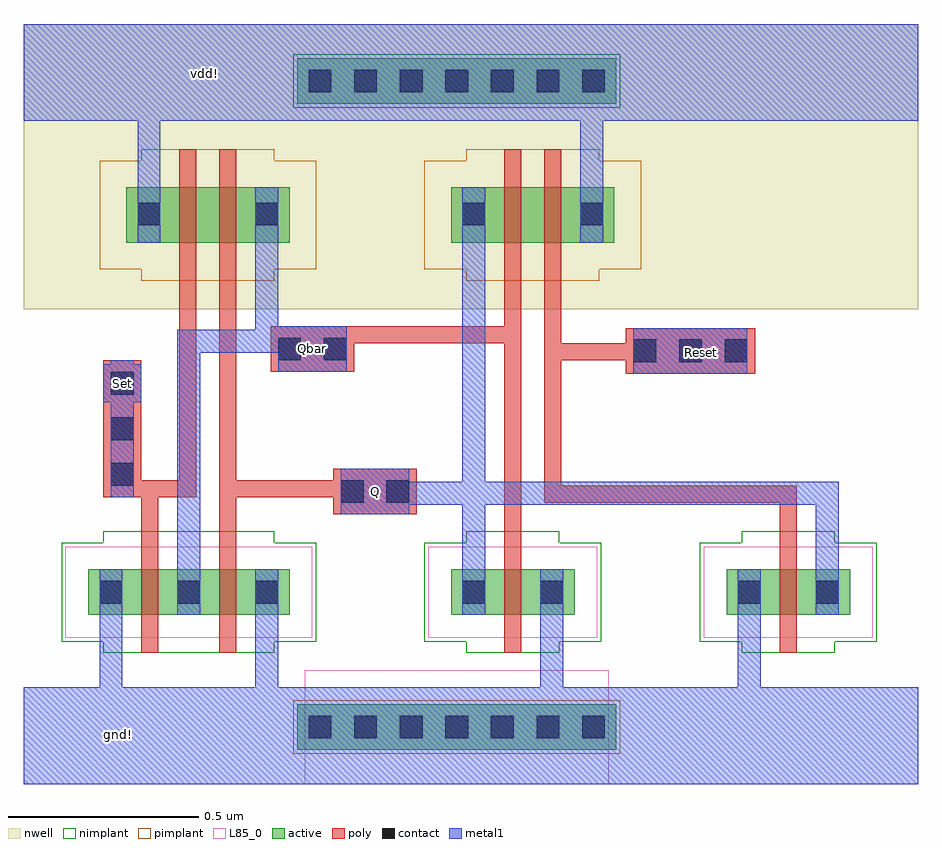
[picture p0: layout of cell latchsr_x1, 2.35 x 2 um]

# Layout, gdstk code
from math import pi, radians
import gdstk
lib = gdstk.Library(unit=1e-6, precision=5e-10)
def R(c, l, rs):  # rectangles x0, y0, x1, y1
    for r in rs: c.add(gdstk.rectangle(r[:2], r[2:], *l))
def A(c, l, x, y, w, h, nx, ny, dx, dy):  # array of equal rectangles
    R(c, l, [(x+i*dx, y+j*dy, x+i*dx+w, y+j*dy+h) for i in range(nx) for j in range(ny)])
active = (1, 0)
nwell = (2, 0)
poly = (3, 0)
nimplant = (4, 0)
pimplant = (5, 0)
contact = (6, 0)
metal1 = (7, 0)
L85_0 = (85, 0)

nmos1v_cdns_764113596370 = lib.new_cell('nmos1v_CDNS_764113596370')
R(nmos1v_cdns_764113596370, active, [(-0.14,0,0,0.12), (0,0,0.045,0.12), (0.045,0,0.095,0.12)])
R(nmos1v_cdns_764113596370, poly, [(0,-0.1,0.045,-0.05), (0,-0.05,0.045,0), (0,0,0.045,0.12), (0,0.12,0.045,0.17), (0,0.17,0.045,0.22)])
R(nmos1v_cdns_764113596370, nimplant, [(-0.1,-0.1,0.145,0.22), (-0.21,-0.07,0.165,0.19)])
R(nmos1v_cdns_764113596370, contact, [(-0.11,0.03,-0.05,0.09)])
R(nmos1v_cdns_764113596370, metal1, [(-0.11,0,-0.05,0.12)])
R(nmos1v_cdns_764113596370, L85_0, [(-0.2,-0.06,0.155,0.18)])

nmos1v_cdns_764113596371 = lib.new_cell('nmos1v_CDNS_764113596371')
R(nmos1v_cdns_764113596371, active, [(-0.14,0,0,0.12), (0,0,0.045,0.12), (0.045,0,0.185,0.12)])
R(nmos1v_cdns_764113596371, poly, [(0,-0.1,0.045,-0.05), (0,-0.05,0.045,0), (0,0,0.045,0.12), (0,0.12,0.045,0.17), (0,0.17,0.045,0.22)])
R(nmos1v_cdns_764113596371, nimplant, [(-0.1,-0.1,0.145,0.22), (-0.21,-0.07,0.255,0.19)])
R(nmos1v_cdns_764113596371, contact, [(-0.11,0.03,-0.05,0.09), (0.095,0.03,0.155,0.09)])
R(nmos1v_cdns_764113596371, metal1, [(-0.11,0,-0.05,0.12), (0.095,0,0.155,0.12)])
R(nmos1v_cdns_764113596371, L85_0, [(-0.2,-0.06,0.245,0.18)])

pmos1v_cdns_764113596372 = lib.new_cell('pmos1v_CDNS_764113596372')
R(pmos1v_cdns_764113596372, active, [(-0.03,0,0,0.145), (0,0,0.045,0.145), (0.045,0,0.185,0.145)])
R(pmos1v_cdns_764113596372, nwell, [(-0.09,-0.06,0.245,0.205)])
R(pmos1v_cdns_764113596372, poly, [(0,-0.1,0.045,-0.05), (0,-0.05,0.045,0), (0,0,0.045,0.145), (0,0.145,0.045,0.195), (0,0.195,0.045,0.245)])
R(pmos1v_cdns_764113596372, pimplant, [(-0.1,-0.1,0.145,0.245), (-0.1,-0.07,0.255,0.215)])
R(pmos1v_cdns_764113596372, contact, [(0.095,0.045,0.155,0.105)])
R(pmos1v_cdns_764113596372, metal1, [(0.095,0,0.155,0.145)])

pmos1v_cdns_764113596373 = lib.new_cell('pmos1v_CDNS_764113596373')
R(pmos1v_cdns_764113596373, active, [(-0.14,0,0,0.145), (0,0,0.045,0.145), (0.045,0,0.075,0.145)])
R(pmos1v_cdns_764113596373, nwell, [(-0.2,-0.06,0.135,0.205)])
R(pmos1v_cdns_764113596373, poly, [(0,-0.1,0.045,-0.05), (0,-0.05,0.045,0), (0,0,0.045,0.145), (0,0.145,0.045,0.195), (0,0.195,0.045,0.245)])
R(pmos1v_cdns_764113596373, pimplant, [(-0.1,-0.1,0.145,0.245), (-0.21,-0.07,0.145,0.215)])
R(pmos1v_cdns_764113596373, contact, [(-0.11,0.045,-0.05,0.105)])
R(pmos1v_cdns_764113596373, metal1, [(-0.11,0,-0.05,0.145)])

nmos1v_cdns_764113596374 = lib.new_cell('nmos1v_CDNS_764113596374')
R(nmos1v_cdns_764113596374, active, [(-0.14,0,0,0.12), (0,0,0.045,0.12), (0.045,0,0.155,0.12)])
R(nmos1v_cdns_764113596374, poly, [(0,-0.1,0.045,-0.05), (0,-0.05,0.045,0), (0,0,0.045,0.12), (0,0.12,0.045,0.17), (0,0.17,0.045,0.22)])
R(nmos1v_cdns_764113596374, nimplant, [(-0.1,-0.1,0.145,0.22), (-0.21,-0.07,0.225,0.19)])
R(nmos1v_cdns_764113596374, contact, [(-0.11,0.03,-0.05,0.09), (0.095,0.03,0.155,0.09)])
R(nmos1v_cdns_764113596374, metal1, [(-0.11,0,-0.05,0.12), (0.095,0,0.155,0.12)])
R(nmos1v_cdns_764113596374, L85_0, [(-0.2,-0.06,0.215,0.18)])

m1_po_cdns_764113596370 = lib.new_cell('M1_PO_CDNS_764113596370')
R(m1_po_cdns_764113596370, poly, [(-0.05,-0.18,0.05,0.18)])
A(m1_po_cdns_764113596370, contact, -0.03, -0.15, 0.06, 0.06, 1, 3, 0, 0.12)
R(m1_po_cdns_764113596370, metal1, [(-0.03,-0.18,0.03,0.18)])

m1_po_cdns_764113596371 = lib.new_cell('M1_PO_CDNS_764113596371')
R(m1_po_cdns_764113596371, poly, [(-0.11,-0.06,0.11,0.06)])
R(m1_po_cdns_764113596371, contact, [(-0.09,-0.03,-0.03,0.03), (0.03,-0.03,0.09,0.03)])
R(m1_po_cdns_764113596371, metal1, [(-0.09,-0.06,0.09,0.06)])

m1_po_cdns_764113596372 = lib.new_cell('M1_PO_CDNS_764113596372')
R(m1_po_cdns_764113596372, poly, [(-0.17,-0.06,0.17,0.06)])
A(m1_po_cdns_764113596372, contact, -0.15, -0.03, 0.06, 0.06, 3, 1, 0.12, 0)
R(m1_po_cdns_764113596372, metal1, [(-0.15,-0.06,0.15,0.06)])

m1_psub_cdns_76411359637 = lib.new_cell('M1_PSUB_CDNS_764113596373')
R(m1_psub_cdns_76411359637, active, [(-0.42,-0.06,0.42,0.06)])
R(m1_psub_cdns_76411359637, pimplant, [(-0.43,-0.07,0.43,0.07)])
A(m1_psub_cdns_76411359637, contact, -0.39, -0.03, 0.06, 0.06, 7, 1, 0.12, 0)
R(m1_psub_cdns_76411359637, metal1, [(-0.39,-0.06,0.39,0.06)])
R(m1_psub_cdns_76411359637, L85_0, [(-0.4,-0.15,0.4,0.15)])

m1_nwell_cdns_7641135963 = lib.new_cell('M1_NWELL_CDNS_764113596374')
R(m1_nwell_cdns_7641135963, active, [(-0.42,-0.06,0.42,0.06)])
R(m1_nwell_cdns_7641135963, nwell, [(-0.45,-0.15,0.45,0.15)])
R(m1_nwell_cdns_7641135963, nimplant, [(-0.43,-0.07,0.43,0.07)])
A(m1_nwell_cdns_7641135963, contact, -0.39, -0.03, 0.06, 0.06, 7, 1, 0.12, 0)
R(m1_nwell_cdns_7641135963, metal1, [(-0.39,-0.06,0.39,0.06)])

latchsr_x1 = lib.new_cell('latchsr_x1')
R(latchsr_x1, nwell, [(0,1.25,2.355,2)])
R(latchsr_x1, metal1, [(0,0,2.355,0.255), (0.2,0.08,0.3,0.18), (0.875,0.72,0.975,0.82), (0.21,1.005,0.31,1.105), (1.735,1.085,1.835,1.185), (0.71,1.095,0.81,1.195), (0,1.745,2.355,2), (0.425,1.82,0.525,1.92)])
latchsr_x1.add(gdstk.FlexPath([(1.3925,1.1375),(1.725,1.1375)], 0.045, ends=(0.0225, 0), simple_path=True, layer=3, datatype=0))  # poly
latchsr_x1.add(gdstk.FlexPath([(1.3925,1.1375),(1.3925,0.7625)], 0.045, ends="extended", simple_path=True, layer=3, datatype=0))  # poly
latchsr_x1.add(gdstk.FlexPath([(2.0125,0.7625),(2.0125,0.665)], 0.045, ends=(0.0225, 0), simple_path=True, layer=3, datatype=0))  # poly
latchsr_x1.add(gdstk.FlexPath([(1.3925,0.7625),(2.0125,0.7625)], 0.045, ends="extended", simple_path=True, layer=3, datatype=0))  # poly
latchsr_x1.add(gdstk.FlexPath([(1.3925,1.325),(1.3925,1.1375)], 0.045, ends=(0, 0.0225), simple_path=True, layer=3, datatype=0))  # poly
latchsr_x1.add(gdstk.FlexPath([(1.2875,1.1825),(0.78,1.1825)], 0.045, ends=(0.0225, 0.11), simple_path=True, layer=3, datatype=0))  # poly
latchsr_x1.add(gdstk.FlexPath([(1.2875,1.325),(1.2875,1.1825)], 0.045, ends=(0, 0.0225), simple_path=True, layer=3, datatype=0))  # poly
latchsr_x1.add(gdstk.FlexPath([(1.2875,1.1825),(1.2875,0.665)], 0.045, ends=(0.0225, 0), simple_path=True, layer=3, datatype=0))  # poly
latchsr_x1.add(gdstk.FlexPath([(0.5375,0.7775),(0.865,0.7775)], 0.045, ends=(0.0225, 0), simple_path=True, layer=3, datatype=0))  # poly
latchsr_x1.add(gdstk.FlexPath([(0.5375,0.7775),(0.5375,0.665)], 0.045, ends=(0.0225, 0), simple_path=True, layer=3, datatype=0))  # poly
latchsr_x1.add(gdstk.FlexPath([(0.4325,1.325),(0.4325,0.7775)], 0.045, ends=(0, 0.0225), simple_path=True, layer=3, datatype=0))  # poly
latchsr_x1.add(gdstk.FlexPath([(0.4325,0.7775),(0.3325,0.7775)], 0.045, ends="extended", simple_path=True, layer=3, datatype=0))  # poly
latchsr_x1.add(gdstk.FlexPath([(0.3325,0.7775),(0.3325,0.665)], 0.045, ends=(0.0225, 0), simple_path=True, layer=3, datatype=0))  # poly
latchsr_x1.add(gdstk.FlexPath([(0.5375,1.325),(0.5375,0.7775)], 0.045, ends=(0, 0.0225), simple_path=True, layer=3, datatype=0))  # poly
latchsr_x1.add(gdstk.FlexPath([(1.495,1.57),(1.495,1.745)], 0.06, ends="flush", simple_path=True, layer=7, datatype=0))  # metal1
latchsr_x1.add(gdstk.FlexPath([(2.115,0.765),(1.185,0.765)], 0.06, ends="extended", simple_path=True, layer=7, datatype=0))  # metal1
latchsr_x1.add(gdstk.FlexPath([(1.185,1.425),(1.185,0.765)], 0.06, ends=(0, 0.03), simple_path=True, layer=7, datatype=0))  # metal1
latchsr_x1.add(gdstk.FlexPath([(2.115,0.565),(2.115,0.765)], 0.06, ends=(0, 0.03), simple_path=True, layer=7, datatype=0))  # metal1
latchsr_x1.add(gdstk.FlexPath([(0.925,0.765),(0.925,0.77)], 0.06, ends=(0.03, 0), simple_path=True, layer=7, datatype=0))  # metal1
latchsr_x1.add(gdstk.FlexPath([(0.33,1.57),(0.33,1.745)], 0.06, ends="flush", simple_path=True, layer=7, datatype=0))  # metal1
latchsr_x1.add(gdstk.FlexPath([(1.185,0.765),(0.925,0.765)], 0.06, ends="extended", simple_path=True, layer=7, datatype=0))  # metal1
latchsr_x1.add(gdstk.FlexPath([(1.185,0.765),(1.185,0.565)], 0.06, ends=(0.03, 0), simple_path=True, layer=7, datatype=0))  # metal1
latchsr_x1.add(gdstk.FlexPath([(0.64,0.445),(0.64,0.255)], 0.06, ends="flush", simple_path=True, layer=7, datatype=0))  # metal1
latchsr_x1.add(gdstk.FlexPath([(0.23,0.445),(0.23,0.255)], 0.06, ends="flush", simple_path=True, layer=7, datatype=0))  # metal1
latchsr_x1.add(gdstk.FlexPath([(1.91,0.445),(1.91,0.255)], 0.06, ends="flush", simple_path=True, layer=7, datatype=0))  # metal1
latchsr_x1.add(gdstk.FlexPath([(1.39,0.445),(1.39,0.255)], 0.06, ends="flush", simple_path=True, layer=7, datatype=0))  # metal1
latchsr_x1.add(gdstk.FlexPath([(0.435,0.565),(0.435,1.165)], 0.06, ends=(0, 0.03), simple_path=True, layer=7, datatype=0))  # metal1
latchsr_x1.add(gdstk.FlexPath([(0.435,1.165),(0.64,1.165)], 0.06, ends="extended", simple_path=True, layer=7, datatype=0))  # metal1
latchsr_x1.add(gdstk.FlexPath([(0.64,1.165),(0.64,1.425)], 0.06, ends=(0.03, 0), simple_path=True, layer=7, datatype=0))  # metal1
latchsr_x1.add(gdstk.Reference(nmos1v_cdns_764113596370, (0.31,0.445)))
latchsr_x1.add(gdstk.Reference(nmos1v_cdns_764113596371, (1.99,0.445)))
latchsr_x1.add(gdstk.Reference(nmos1v_cdns_764113596371, (1.31,0.445), rotation=pi, x_reflection=True))
latchsr_x1.add(gdstk.Reference(pmos1v_cdns_764113596372, (1.31,1.425), rotation=pi, x_reflection=True))
latchsr_x1.add(gdstk.Reference(pmos1v_cdns_764113596372, (0.515,1.425)))
latchsr_x1.add(gdstk.Reference(pmos1v_cdns_764113596373, (1.415,1.425), rotation=pi, x_reflection=True))
latchsr_x1.add(gdstk.Reference(pmos1v_cdns_764113596373, (0.41,1.425)))
latchsr_x1.add(gdstk.Reference(nmos1v_cdns_764113596374, (0.56,0.445), rotation=pi, x_reflection=True))
latchsr_x1.add(gdstk.Reference(m1_po_cdns_764113596370, (0.26,0.935)))
latchsr_x1.add(gdstk.Reference(m1_po_cdns_764113596371, (0.76,1.145)))
latchsr_x1.add(gdstk.Reference(m1_po_cdns_764113596371, (0.925,0.77)))
latchsr_x1.add(gdstk.Reference(m1_po_cdns_764113596372, (1.755,1.14)))
latchsr_x1.add(gdstk.Reference(m1_psub_cdns_76411359637, (1.14,0.15)))
latchsr_x1.add(gdstk.Reference(m1_nwell_cdns_7641135963, (1.14,1.85)))
latchsr_x1.add(gdstk.Label('vdd!', (0.475,1.87), layer=7, texttype=0))
latchsr_x1.add(gdstk.Label('gnd!', (0.25,0.13), layer=7, texttype=0))
latchsr_x1.add(gdstk.Label('Qbar', (0.76,1.145), layer=7, texttype=0))
latchsr_x1.add(gdstk.Label('Q', (0.925,0.77), layer=7, texttype=0))
latchsr_x1.add(gdstk.Label('Set', (0.26,1.055), layer=7, texttype=0))
latchsr_x1.add(gdstk.Label('Reset', (1.785,1.135), layer=7, texttype=0))

lib.write_gds('latchsr_x1.gds')
